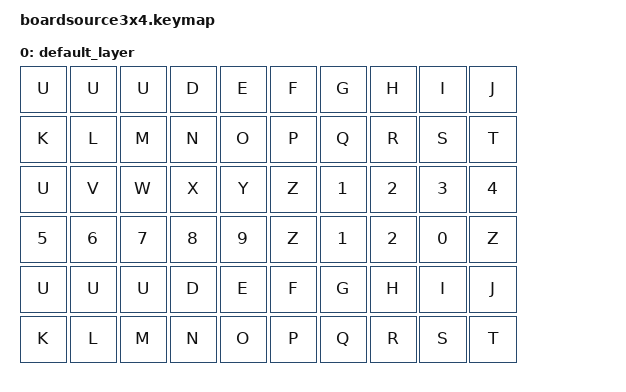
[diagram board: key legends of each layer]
/*
 * Copyright (c) 2020 The ZMK Contributors
 *
 * SPDX-License-Identifier: MIT
 */

#include <behaviors.dtsi>
#include <dt-bindings/zmk/keys.h>
#include <dt-bindings/zmk/bt.h>

/ {
    keymap {
        compatible = "zmk,keymap";

        default_layer {

            bindings = <
            &kp U &kp U &kp U &kp D &kp E &kp F &kp G &kp H &kp I &kp J
            &kp K &kp L &kp M &kp N &kp O &kp P &kp Q &kp R &kp S &kp T
            &kp U &kp V &kp W &kp X &kp Y &kp Z &kp N1 &kp N2 &kp N3 &kp N4
            &kp N5 &kp N6 &kp N7 &kp N8 &kp N9 &kp Z &kp N1 &kp N2 &kp N0 &kp Z
            &kp U &kp U &kp U &kp D &kp E &kp F &kp G &kp H &kp I &kp J
            &kp K &kp L &kp M &kp N &kp O &kp P &kp Q &kp R &kp S &kp T
            >;
        };

//        default_layer {
//
//            bindings = <
//    &tog 1 &kp C_PREV   &kp C_PP &kp C_NEXT
//    &mo 2  &kp C_VOL_DN &kp UP   &kp C_VOL_UP
//    &mo 3  &kp LEFT     &kp DOWN &kp RIGHT
//            >;
//        };
//
//        num_layer {
//            bindings = <
//    &trans   &kp N7 &kp N8 &kp N9
//    &trans   &kp N4 &kp N5 &kp N6
//    &lt 3 N0 &kp N1 &kp N2 &kp N3
//            >;
//        };
//
//        lower_layer {
//            bindings = <
//    &bt BT_CLR &none        &reset       &bootloader
//    &trans     &bt BT_SEL 3 &bt BT_SEL 4 &none
//    &none      &bt BT_SEL 0 &bt BT_SEL 1 &bt BT_SEL 2
//            >;
//        };
//
//        raise_layer {
//            bindings = <
//    &kp 0x68 &kp 0x69 &kp 0x6A &kp 0x6B
//    &kp 0x6C &kp 0x6D &kp 0x6E &kp 0x6F
//    &trans   &kp 0x70 &kp 0x71 &kp 0x72
//            >;
//        };
    };
};
